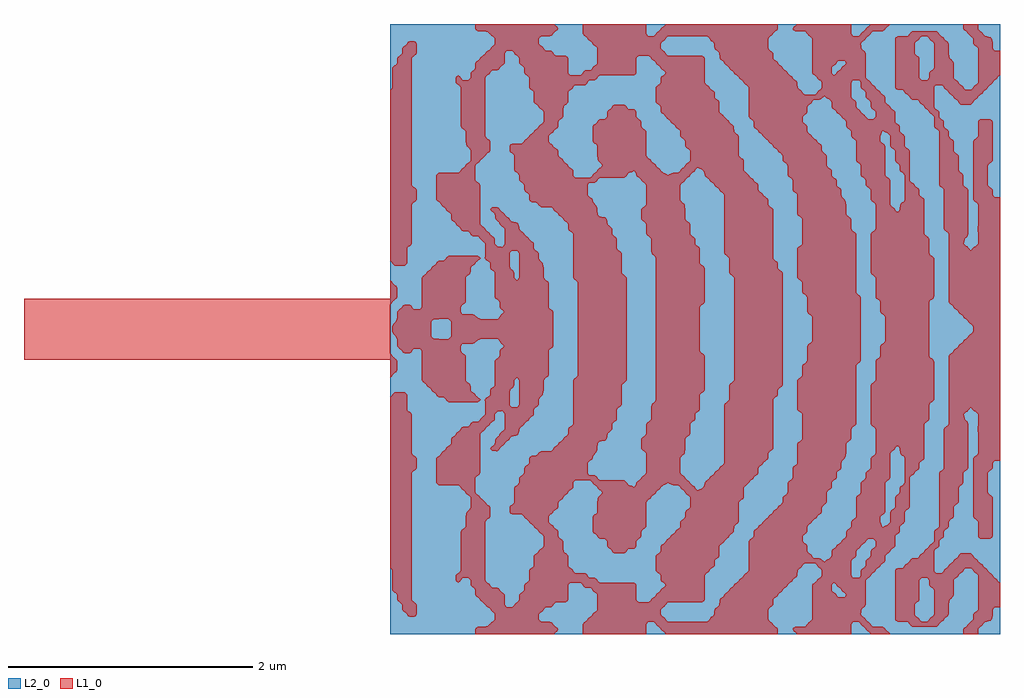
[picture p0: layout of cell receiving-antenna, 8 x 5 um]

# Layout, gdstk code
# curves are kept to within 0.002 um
import gdstk
lib = gdstk.Library(unit=1e-6, precision=1e-09)
def R(c, l, rs):  # rectangles x0, y0, x1, y1
    for r in rs: c.add(gdstk.rectangle(r[:2], r[2:], *l))
def P(c, l, *ps):  # polygons
    for p in ps: c.add(gdstk.Polygon(p, *l))
L1_0 = (1, 0)
L2_0 = (2, 0)

receiving_antenna = lib.new_cell('receiving-antenna')
R(receiving_antenna, L1_0, [(-5.5,-0.25,-2.5,0.25)])
P(receiving_antenna, L1_0, [(-1.8,-2.5),(-1.8,-2.46),(-1.793,-2.45),(-1.78,-2.44),(-1.71,-2.437),(-1.693,-2.43),(-1.676,-2.41),(-1.65,-2.393),(-1.64,-2.38),(-1.64,-2.34),(-1.65,-2.324),(-1.668,-2.31),(-1.684,-2.29),(-1.71,-2.273),(-1.727,-2.25),(-1.75,-2.233),(-1.767,-2.21),(-1.793,-2.19),(-1.8,-2.18),(-1.8,-2.14),(-1.805,-2.13),(-1.837,-2.1),(-1.84,-2.06),(-1.85,-2.047),(-1.86,-2.04),(-1.9,-2.04),(-1.91,-2.047),(-1.927,-2.07),(-1.94,-2.08),(-1.95,-2.073),(-1.96,-2.06),(-1.96,-2.02),(-1.953,-2.01),(-1.93,-1.993),(-1.92,-1.98),(-1.92,-1.66),(-1.913,-1.65),(-1.89,-1.633),(-1.88,-1.62),(-1.88,-1.54),(-1.87,-1.502),(-1.85,-1.48),(-1.84,-1.46),(-1.84,-1.38),(-1.847,-1.37),(-1.87,-1.353),(-1.887,-1.33),(-1.91,-1.313),(-1.927,-1.29),(-1.94,-1.28),(-2.1,-1.28),(-2.113,-1.27),(-2.12,-1.26),(-2.12,-1.06),(-2.11,-1.047),(-2.087,-1.03),(-2.07,-1.007),(-2.047,-0.99),(-2.03,-0.967),(-2.007,-0.95),(-2,-0.94),(-2,-0.9),(-1.99,-0.887),(-1.967,-0.87),(-1.95,-0.847),(-1.927,-0.83),(-1.91,-0.807),(-1.9,-0.8),(-1.86,-0.8),(-1.85,-0.793),(-1.833,-0.77),(-1.82,-0.76),(-1.78,-0.76),(-1.767,-0.75),(-1.75,-0.727),(-1.727,-0.71),(-1.72,-0.7),(-1.723,-0.58),(-1.71,-0.565),(-1.69,-0.553),(-1.68,-0.54),(-1.68,-0.5),(-1.673,-0.49),(-1.65,-0.473),(-1.64,-0.46),(-1.64,-0.4),(-1.46,-0.4),(-1.47,-0.407),(-1.48,-0.42),(-1.48,-0.46),(-1.49,-0.477),(-1.514,-0.5),(-1.518,-0.52),(-1.52,-0.62),(-1.513,-0.63),(-1.5,-0.64),(-1.46,-0.64),(-1.45,-0.633),(-1.44,-0.62),(-1.44,-0.42),(-1.447,-0.41),(-1.46,-0.4),(-1.64,-0.4),(-1.64,-0.26),(-1.633,-0.25),(-1.61,-0.233),(-1.6,-0.22),(-1.6,-0.18),(-1.59,-0.163),(-1.565,-0.14),(-1.59,-0.117),(-1.607,-0.09),(-1.62,-0.08),(-1.74,-0.08),(-1.78,-0.091),(-1.8,-0.11),(-1.82,-0.12),(-1.9,-0.12),(-1.91,-0.127),(-1.92,-0.14),(-1.92,-0.18),(-1.913,-0.19),(-1.89,-0.207),(-1.88,-0.22),(-1.88,-0.42),(-1.874,-0.43),(-1.85,-0.447),(-1.841,-0.46),(-1.84,-0.5),(-1.833,-0.51),(-1.81,-0.527),(-1.793,-0.55),(-1.765,-0.57),(-1.757,-0.58),(-1.765,-0.59),(-1.78,-0.6),(-2.02,-0.6),(-2.03,-0.593),(-2.047,-0.57),(-2.06,-0.56),(-2.1,-0.56),(-2.11,-0.553),(-2.127,-0.53),(-2.15,-0.513),(-2.167,-0.49),(-2.19,-0.473),(-2.207,-0.45),(-2.23,-0.433),(-2.24,-0.42),(-2.24,-0.18),(-2.247,-0.17),(-2.26,-0.16),(-2.3,-0.16),(-2.31,-0.167),(-2.327,-0.19),(-2.34,-0.2),(-2.38,-0.2),(-2.395,-0.19),(-2.409,-0.17),(-2.43,-0.155),(-2.44,-0.14),(-2.442,-0.09),(-2.452,-0.06),(-2.47,-0.042),(-2.48,-0.02),(-2.48,0.02),(-2.47,0.042),(-2.452,0.06),(-2.444,0.085),(-2.06,0.085),(-2.1,0.08),(-2.14,0.08),(-2.15,0.073),(-2.16,0.06),(-2.16,-0.06),(-2.153,-0.07),(-2.14,-0.08),(-2.1,-0.08),(-2.06,-0.085),(-2.02,-0.08),(-2.007,-0.07),(-2,-0.06),(-2,0.06),(-2.007,0.07),(-2.02,0.08),(-2.06,0.085),(-2.444,0.085),(-2.44,0.1),(-2.44,0.14),(-2.43,0.155),(-2.41,0.169),(-2.395,0.19),(-2.38,0.2),(-2.34,0.2),(-2.33,0.193),(-2.313,0.17),(-2.3,0.16),(-2.26,0.16),(-2.247,0.17),(-2.24,0.18),(-2.24,0.42),(-2.23,0.433),(-2.207,0.45),(-2.19,0.473),(-2.167,0.49),(-2.15,0.513),(-2.127,0.53),(-2.11,0.553),(-2.1,0.56),(-2.06,0.56),(-2.05,0.567),(-2.033,0.59),(-2.02,0.6),(-1.78,0.6),(-1.765,0.59),(-1.757,0.58),(-1.765,0.57),(-1.79,0.553),(-1.81,0.527),(-1.833,0.51),(-1.84,0.5),(-1.841,0.46),(-1.847,0.45),(-1.87,0.434),(-1.88,0.42),(-1.88,0.22),(-1.887,0.21),(-1.91,0.193),(-1.92,0.18),(-1.92,0.14),(-1.913,0.13),(-1.9,0.12),(-1.82,0.12),(-1.8,0.11),(-1.78,0.091),(-1.74,0.08),(-1.62,0.08),(-1.607,0.09),(-1.59,0.117),(-1.565,0.14),(-1.59,0.163),(-1.6,0.18),(-1.6,0.22),(-1.607,0.23),(-1.63,0.247),(-1.64,0.26),(-1.64,0.46),(-1.647,0.47),(-1.67,0.487),(-1.68,0.5),(-1.68,0.54),(-1.69,0.553),(-1.71,0.565),(-1.723,0.58),(-1.72,0.64),(-1.5,0.64),(-1.51,0.633),(-1.52,0.62),(-1.52,0.54),(-1.514,0.5),(-1.49,0.477),(-1.48,0.46),(-1.48,0.42),(-1.473,0.41),(-1.46,0.4),(-1.45,0.407),(-1.44,0.42),(-1.44,0.62),(-1.45,0.633),(-1.46,0.64),(-1.72,0.64),(-1.72,0.7),(-1.727,0.71),(-1.75,0.727),(-1.767,0.75),(-1.78,0.76),(-1.82,0.76),(-1.83,0.767),(-1.847,0.79),(-1.86,0.8),(-1.9,0.8),(-1.91,0.807),(-1.927,0.83),(-1.95,0.847),(-1.967,0.87),(-1.99,0.887),(-2,0.9),(-2,0.94),(-2.007,0.95),(-2.03,0.967),(-2.047,0.99),(-2.07,1.007),(-2.087,1.03),(-2.11,1.047),(-2.12,1.06),(-2.12,1.26),(-2.113,1.27),(-2.1,1.28),(-1.94,1.28),(-1.93,1.287),(-1.913,1.31),(-1.89,1.327),(-1.873,1.35),(-1.85,1.367),(-1.84,1.38),(-1.84,1.46),(-1.85,1.48),(-1.869,1.5),(-1.876,1.52),(-1.88,1.54),(-1.88,1.62),(-1.887,1.63),(-1.91,1.647),(-1.92,1.66),(-1.92,1.98),(-1.927,1.99),(-1.95,2.007),(-1.96,2.02),(-1.96,2.06),(-1.953,2.07),(-1.94,2.08),(-1.93,2.073),(-1.913,2.05),(-1.9,2.04),(-1.86,2.04),(-1.85,2.047),(-1.84,2.06),(-1.837,2.1),(-1.805,2.13),(-1.8,2.14),(-1.8,2.18),(-1.793,2.19),(-1.77,2.207),(-1.753,2.23),(-1.73,2.247),(-1.713,2.27),(-1.7,2.28),(-1.54,2.28),(-1.55,2.273),(-1.56,2.26),(-1.56,2.18),(-1.567,2.17),(-1.59,2.153),(-1.607,2.13),(-1.62,2.12),(-1.66,2.12),(-1.67,2.113),(-1.687,2.09),(-1.71,2.073),(-1.72,2.06),(-1.72,1.58),(-1.713,1.57),(-1.69,1.553),(-1.68,1.54),(-1.68,1.46),(-1.687,1.45),(-1.71,1.433),(-1.727,1.41),(-1.75,1.393),(-1.767,1.37),(-1.79,1.353),(-1.8,1.34),(-1.8,1.22),(-1.793,1.21),(-1.77,1.193),(-1.76,1.18),(-1.76,0.86),(-1.75,0.847),(-1.727,0.83),(-1.71,0.807),(-1.687,0.79),(-1.67,0.767),(-1.647,0.75),(-1.64,0.74),(-1.64,0.7),(-1.63,0.687),(-1.62,0.68),(-1.58,0.671),(-1.57,0.68),(-1.56,0.7),(-1.56,0.82),(-1.57,0.833),(-1.594,0.85),(-1.61,0.878),(-1.634,0.9),(-1.64,0.94),(-1.646,0.95),(-1.67,0.969),(-1.678,0.98),(-1.671,0.99),(-1.66,0.998),(-1.62,1),(-1.607,0.99),(-1.59,0.967),(-1.567,0.95),(-1.55,0.927),(-1.527,0.91),(-1.51,0.887),(-1.5,0.88),(-1.457,0.87),(-1.448,0.86),(-1.44,0.82),(-1.433,0.81),(-1.41,0.793),(-1.393,0.77),(-1.37,0.753),(-1.353,0.73),(-1.33,0.713),(-1.32,0.7),(-1.32,0.66),(-1.31,0.646),(-1.29,0.633),(-1.28,0.62),(-1.28,0.58),(-1.27,0.56),(-1.25,0.539),(-1.244,0.52),(-1.24,0.5),(-1.24,0.42),(-1.233,0.41),(-1.21,0.393),(-1.2,0.38),(-1.2,0.18),(-1.193,0.17),(-1.17,0.153),(-1.16,0.14),(-1.16,-0.14),(-1.167,-0.15),(-1.19,-0.167),(-1.2,-0.18),(-1.2,-0.38),(-1.207,-0.39),(-1.23,-0.407),(-1.24,-0.42),(-1.24,-0.5),(-1.25,-0.539),(-1.27,-0.56),(-1.28,-0.58),(-1.28,-0.62),(-1.29,-0.633),(-1.31,-0.646),(-1.32,-0.66),(-1.32,-0.7),(-1.327,-0.71),(-1.35,-0.727),(-1.367,-0.75),(-1.39,-0.767),(-1.407,-0.79),(-1.43,-0.807),(-1.44,-0.82),(-1.45,-0.863),(-1.46,-0.872),(-1.5,-0.88),(-1.51,-0.887),(-1.527,-0.91),(-1.55,-0.927),(-1.567,-0.95),(-1.59,-0.967),(-1.607,-0.99),(-1.62,-1),(-1.66,-0.998),(-1.67,-0.991),(-1.678,-0.98),(-1.67,-0.969),(-1.646,-0.95),(-1.64,-0.94),(-1.634,-0.9),(-1.61,-0.878),(-1.594,-0.85),(-1.57,-0.833),(-1.56,-0.82),(-1.56,-0.7),(-1.57,-0.68),(-1.58,-0.671),(-1.62,-0.68),(-1.633,-0.69),(-1.64,-0.7),(-1.64,-0.74),(-1.647,-0.75),(-1.67,-0.767),(-1.687,-0.79),(-1.71,-0.807),(-1.727,-0.83),(-1.75,-0.847),(-1.76,-0.86),(-1.76,-1.18),(-1.767,-1.19),(-1.79,-1.207),(-1.8,-1.22),(-1.8,-1.34),(-1.793,-1.35),(-1.77,-1.367),(-1.753,-1.39),(-1.73,-1.407),(-1.713,-1.43),(-1.69,-1.447),(-1.68,-1.46),(-1.68,-1.54),(-1.687,-1.55),(-1.71,-1.567),(-1.72,-1.58),(-1.72,-2.06),(-1.713,-2.07),(-1.69,-2.087),(-1.673,-2.11),(-1.66,-2.12),(-1.62,-2.12),(-1.61,-2.127),(-1.593,-2.15),(-1.57,-2.167),(-1.56,-2.18),(-1.56,-2.26),(-1.553,-2.27),(-1.54,-2.28),(-1.5,-2.28),(-1.49,-2.273),(-1.473,-2.25),(-1.45,-2.233),(-1.44,-2.22),(-1.44,-2.18),(-1.433,-2.17),(-1.41,-2.153),(-1.4,-2.14),(-1.4,-2.1),(-1.393,-2.09),(-1.37,-2.073),(-1.36,-2.06),(-1.36,-1.98),(-1.353,-1.97),(-1.33,-1.953),(-1.32,-1.94),(-1.32,-1.86),(-1.313,-1.85),(-1.29,-1.833),(-1.273,-1.81),(-1.25,-1.793),(-1.24,-1.78),(-1.24,-1.7),(-1.247,-1.69),(-1.27,-1.673),(-1.287,-1.65),(-1.31,-1.633),(-1.327,-1.61),(-1.35,-1.593),(-1.367,-1.57),(-1.39,-1.553),(-1.407,-1.53),(-1.42,-1.52),(-1.5,-1.52),(-1.51,-1.513),(-1.52,-1.5),(-1.52,-1.46),(-1.513,-1.45),(-1.49,-1.433),(-1.48,-1.42),(-1.48,-1.3),(-1.473,-1.29),(-1.45,-1.273),(-1.44,-1.26),(-1.44,-1.24),(-0.98,-1.24),(-0.99,-1.247),(-1,-1.26),(-1,-1.3),(-1.007,-1.31),(-1.03,-1.327),(-1.047,-1.35),(-1.073,-1.37),(-1.09,-1.395),(-1.111,-1.41),(-1.118,-1.42),(-1.12,-1.46),(-1.13,-1.473),(-1.155,-1.49),(-1.17,-1.509),(-1.19,-1.525),(-1.2,-1.54),(-1.2,-1.58),(-1.19,-1.593),(-1.167,-1.61),(-1.15,-1.633),(-1.127,-1.65),(-1.12,-1.66),(-1.12,-1.7),(-1.11,-1.714),(-1.09,-1.727),(-1.08,-1.74),(-1.077,-1.82),(-1.07,-1.83),(-1.05,-1.845),(-1.04,-1.86),(-1.04,-1.94),(-1.033,-1.95),(-1.01,-1.967),(-0.993,-1.99),(-0.98,-2),(-0.9,-2),(-0.89,-2.007),(-0.873,-2.03),(-0.86,-2.04),(-0.82,-2.04),(-0.81,-2.047),(-0.793,-2.07),(-0.78,-2.08),(-0.5,-2.08),(-0.49,-2.087),(-0.48,-2.1),(-0.48,-2.22),(-0.473,-2.23),(-0.46,-2.24),(-0.38,-2.24),(-0.37,-2.233),(-0.353,-2.21),(-0.33,-2.193),(-0.313,-2.17),(-0.29,-2.153),(-0.273,-2.13),(-0.25,-2.113),(-0.24,-2.1),(-0.247,-2.09),(-0.27,-2.073),(-0.28,-2.06),(-0.281,-2.02),(-0.29,-2.008),(-0.314,-1.99),(-0.32,-1.98),(-0.32,-1.86),(-0.313,-1.85),(-0.29,-1.833),(-0.28,-1.82),(-0.28,-1.78),(-0.273,-1.77),(-0.25,-1.753),(-0.233,-1.73),(-0.21,-1.713),(-0.193,-1.69),(-0.17,-1.673),(-0.153,-1.65),(-0.127,-1.63),(-0.12,-1.62),(-0.12,-1.58),(-0.113,-1.57),(-0.09,-1.553),(-0.08,-1.54),(-0.08,-1.5),(-0.073,-1.49),(-0.05,-1.473),(-0.04,-1.46),(-0.04,-1.38),(-0.05,-1.367),(-0.073,-1.35),(-0.09,-1.327),(-0.113,-1.31),(-0.13,-1.287),(-0.14,-1.28),(-0.18,-1.28),(-0.19,-1.277),(-0.21,-1.267),(-0.22,-1.258),(-0.24,-1.273),(-0.26,-1.28),(-0.27,-1.287),(-0.287,-1.31),(-0.31,-1.327),(-0.327,-1.35),(-0.35,-1.367),(-0.367,-1.39),(-0.39,-1.407),(-0.4,-1.42),(-0.4,-1.62),(-0.407,-1.63),(-0.43,-1.647),(-0.44,-1.66),(-0.44,-1.7),(-0.447,-1.71),(-0.47,-1.727),(-0.48,-1.74),(-0.48,-1.78),(-0.487,-1.79),(-0.5,-1.8),(-0.54,-1.8),(-0.55,-1.807),(-0.567,-1.83),(-0.58,-1.84),(-0.66,-1.84),(-0.67,-1.833),(-0.687,-1.81),(-0.71,-1.793),(-0.72,-1.78),(-0.72,-1.74),(-0.727,-1.73),(-0.74,-1.72),(-0.78,-1.719),(-0.792,-1.71),(-0.81,-1.686),(-0.83,-1.673),(-0.84,-1.66),(-0.84,-1.54),(-0.83,-1.527),(-0.81,-1.514),(-0.8,-1.5),(-0.8,-1.42),(-0.795,-1.38),(-0.773,-1.36),(-0.76,-1.34),(-0.77,-1.327),(-0.79,-1.314),(-0.81,-1.287),(-0.833,-1.27),(-0.85,-1.247),(-0.86,-1.24),(-1.44,-1.24),(-1.44,-1.22),(-1.433,-1.21),(-1.41,-1.193),(-1.4,-1.18),(-1.4,-1.14),(-1.393,-1.13),(-1.37,-1.113),(-1.36,-1.1),(-1.36,-1.06),(-1.353,-1.05),(-1.34,-1.04),(-1.3,-1.036),(-1.276,-1.01),(-1.26,-1),(-1.18,-1),(-1.17,-0.993),(-1.153,-0.97),(-1.13,-0.953),(-1.113,-0.93),(-1.09,-0.913),(-1.073,-0.89),(-1.047,-0.87),(-1.04,-0.86),(-1.04,-0.82),(-1.033,-0.81),(-1.01,-0.793),(-1,-0.78),(-1,-0.42),(-0.993,-0.41),(-0.97,-0.393),(-0.96,-0.38),(-0.96,0.38),(-0.967,0.39),(-0.99,0.407),(-1,0.42),(-1,0.78),(-1.007,0.79),(-1.03,0.807),(-1.04,0.82),(-1.04,0.86),(-1.047,0.87),(-1.07,0.887),(-1.087,0.91),(-1.11,0.927),(-1.127,0.95),(-1.15,0.967),(-1.167,0.99),(-1.18,1),(-1.26,1),(-1.276,1.01),(-1.3,1.036),(-1.34,1.04),(-1.353,1.05),(-1.36,1.06),(-1.36,1.1),(-1.367,1.11),(-1.39,1.127),(-1.4,1.14),(-1.4,1.18),(-1.407,1.19),(-1.43,1.207),(-1.44,1.22),(-1.44,1.26),(-1.447,1.27),(-1.47,1.287),(-1.48,1.3),(-1.48,1.42),(-1.487,1.43),(-1.51,1.447),(-1.52,1.46),(-1.52,1.5),(-1.51,1.513),(-1.5,1.52),(-1.42,1.52),(-1.407,1.53),(-1.39,1.553),(-1.367,1.57),(-1.35,1.593),(-1.327,1.61),(-1.31,1.633),(-1.287,1.65),(-1.27,1.673),(-1.247,1.69),(-1.24,1.7),(-1.24,1.78),(-1.247,1.79),(-1.27,1.807),(-1.287,1.83),(-1.31,1.847),(-1.32,1.86),(-1.32,1.94),(-1.327,1.95),(-1.35,1.967),(-1.36,1.98),(-1.36,2.06),(-1.367,2.07),(-1.39,2.087),(-1.4,2.1),(-1.4,2.14),(-1.407,2.15),(-1.43,2.167),(-1.44,2.18),(-1.44,2.22),(-1.447,2.23),(-1.47,2.247),(-1.487,2.27),(-1.5,2.28),(-1.7,2.28),(-1.684,2.29),(-1.67,2.308),(-1.645,2.33),(-1.64,2.34),(-1.64,2.38),(-1.65,2.393),(-1.676,2.41),(-1.7,2.435),(-1.74,2.44),(-1.78,2.44),(-1.79,2.447),(-1.8,2.46),(-1.8,2.5),(-1.154,2.5),(-1.126,2.47),(-1.121,2.46),(-1.128,2.45),(-1.15,2.435),(-1.169,2.41),(-1.18,2.402),(-1.26,2.4),(-1.27,2.393),(-1.28,2.38),(-1.28,2.34),(-1.27,2.327),(-1.247,2.31),(-1.23,2.287),(-1.22,2.28),(-1.18,2.28),(-1.17,2.273),(-1.153,2.25),(-1.14,2.24),(-1.06,2.24),(-1.05,2.233),(-1.04,2.22),(-1.04,2.1),(-1.033,2.09),(-1.02,2.08),(-0.94,2.08),(-0.93,2.087),(-0.913,2.11),(-0.9,2.12),(-0.86,2.12),(-0.85,2.127),(-0.833,2.15),(-0.81,2.167),(-0.8,2.18),(-0.8,2.24),(-0.46,2.24),(-0.47,2.233),(-0.48,2.22),(-0.48,2.1),(-0.487,2.09),(-0.5,2.08),(-0.78,2.08),(-0.79,2.073),(-0.807,2.05),(-0.82,2.04),(-0.86,2.04),(-0.87,2.033),(-0.887,2.01),(-0.9,2),(-0.98,2),(-0.99,1.993),(-1.007,1.97),(-1.03,1.953),(-1.04,1.94),(-1.04,1.86),(-1.05,1.845),(-1.07,1.83),(-1.077,1.82),(-1.08,1.74),(-1.09,1.727),(-1.11,1.714),(-1.12,1.7),(-1.12,1.66),(-1.127,1.65),(-1.15,1.633),(-1.167,1.61),(-1.19,1.593),(-1.2,1.58),(-1.2,1.54),(-1.194,1.53),(-1.17,1.509),(-1.155,1.49),(-1.13,1.473),(-1.12,1.46),(-1.118,1.42),(-1.111,1.41),(-1.09,1.395),(-1.073,1.37),(-1.05,1.353),(-1.033,1.33),(-1.007,1.31),(-1,1.3),(-1,1.26),(-0.993,1.25),(-0.98,1.24),(-0.86,1.24),(-0.847,1.25),(-0.83,1.273),(-0.81,1.287),(-0.803,1.296),(-0.5,1.296),(-0.54,1.28),(-0.55,1.273),(-0.567,1.25),(-0.58,1.24),(-0.78,1.24),(-0.79,1.233),(-0.807,1.21),(-0.82,1.2),(-0.86,1.2),(-0.87,1.193),(-0.88,1.18),(-0.88,1.1),(-0.87,1.087),(-0.847,1.07),(-0.83,1.036),(-0.81,1.01),(-0.8,0.98),(-0.799,0.94),(-0.792,0.93),(-0.78,0.921),(-0.74,0.916),(-0.73,0.908),(-0.724,0.9),(-0.717,0.86),(-0.69,0.835),(-0.68,0.82),(-0.68,0.78),(-0.673,0.77),(-0.65,0.753),(-0.64,0.74),(-0.64,0.66),(-0.633,0.65),(-0.61,0.633),(-0.6,0.62),(-0.6,0.46),(-0.593,0.45),(-0.57,0.433),(-0.56,0.42),(-0.56,-0.42),(-0.567,-0.43),(-0.59,-0.447),(-0.6,-0.46),(-0.6,-0.62),(-0.607,-0.63),(-0.63,-0.647),(-0.64,-0.66),(-0.64,-0.74),(-0.647,-0.75),(-0.67,-0.767),(-0.68,-0.78),(-0.68,-0.82),(-0.69,-0.835),(-0.717,-0.86),(-0.724,-0.9),(-0.73,-0.908),(-0.74,-0.916),(-0.78,-0.921),(-0.79,-0.928),(-0.799,-0.94),(-0.8,-0.98),(-0.81,-1.01),(-0.83,-1.036),(-0.847,-1.07),(-0.87,-1.087),(-0.88,-1.1),(-0.88,-1.18),(-0.873,-1.19),(-0.86,-1.2),(-0.82,-1.2),(-0.81,-1.207),(-0.793,-1.23),(-0.78,-1.24),(-0.58,-1.24),(-0.57,-1.247),(-0.553,-1.27),(-0.54,-1.28),(-0.5,-1.296),(-0.494,-1.29),(-0.473,-1.25),(-0.45,-1.233),(-0.433,-1.21),(-0.41,-1.193),(-0.4,-1.18),(-0.4,-1.02),(-0.407,-1.01),(-0.43,-0.993),(-0.44,-0.98),(-0.44,-0.9),(-0.433,-0.89),(-0.41,-0.873),(-0.4,-0.86),(-0.4,-0.78),(-0.393,-0.77),(-0.37,-0.753),(-0.36,-0.74),(-0.36,-0.66),(-0.354,-0.62),(-0.33,-0.597),(-0.32,-0.58),(-0.32,0.58),(-0.33,0.597),(-0.354,0.62),(-0.36,0.66),(-0.36,0.74),(-0.367,0.75),(-0.39,0.767),(-0.4,0.78),(-0.4,0.86),(-0.407,0.87),(-0.43,0.887),(-0.44,0.9),(-0.44,0.98),(-0.433,0.99),(-0.41,1.007),(-0.4,1.02),(-0.4,1.18),(-0.41,1.193),(-0.433,1.21),(-0.45,1.233),(-0.473,1.25),(-0.49,1.284),(-0.5,1.296),(-0.803,1.296),(-0.79,1.314),(-0.77,1.327),(-0.76,1.34),(-0.773,1.36),(-0.795,1.38),(-0.8,1.42),(-0.8,1.5),(-0.81,1.514),(-0.83,1.527),(-0.84,1.54),(-0.84,1.66),(-0.833,1.67),(-0.81,1.686),(-0.792,1.71),(-0.78,1.719),(-0.74,1.72),(-0.73,1.727),(-0.72,1.74),(-0.72,1.78),(-0.713,1.79),(-0.69,1.807),(-0.673,1.83),(-0.66,1.84),(-0.58,1.84),(-0.57,1.833),(-0.553,1.81),(-0.54,1.8),(-0.5,1.8),(-0.49,1.793),(-0.48,1.78),(-0.48,1.74),(-0.473,1.73),(-0.45,1.713),(-0.44,1.7),(-0.44,1.66),(-0.433,1.65),(-0.41,1.633),(-0.4,1.62),(-0.4,1.42),(-0.39,1.407),(-0.367,1.39),(-0.35,1.367),(-0.327,1.35),(-0.31,1.327),(-0.287,1.31),(-0.27,1.287),(-0.26,1.28),(-0.24,1.273),(-0.22,1.258),(-0.2,1.273),(-0.18,1.28),(-0.14,1.28),(-0.13,1.287),(-0.113,1.31),(-0.1,1.32),(0.02,1.32),(0.01,1.313),(-0.007,1.29),(-0.03,1.273),(-0.047,1.25),(-0.07,1.233),(-0.087,1.21),(-0.11,1.193),(-0.12,1.18),(-0.12,1.06),(-0.11,1.042),(-0.086,1.02),(-0.08,0.98),(-0.08,0.9),(-0.073,0.89),(-0.05,0.873),(-0.04,0.86),(-0.04,0.78),(-0.033,0.77),(-0.01,0.753),(0,0.74),(0,0.7),(0.007,0.69),(0.03,0.673),(0.04,0.66),(0.04,0.54),(0.047,0.53),(0.07,0.513),(0.08,0.5),(0.08,0.22),(0.073,0.21),(0.05,0.193),(0.04,0.18),(0.04,-0.18),(0.047,-0.19),(0.07,-0.207),(0.08,-0.22),(0.08,-0.5),(0.073,-0.51),(0.05,-0.527),(0.04,-0.54),(0.04,-0.66),(0.033,-0.67),(0.01,-0.687),(0,-0.7),(0,-0.74),(-0.007,-0.75),(-0.03,-0.767),(-0.04,-0.78),(-0.04,-0.86),(-0.047,-0.87),(-0.07,-0.887),(-0.08,-0.9),(-0.08,-0.98),(-0.086,-1.02),(-0.11,-1.042),(-0.12,-1.06),(-0.12,-1.18),(-0.113,-1.19),(-0.09,-1.207),(-0.073,-1.23),(-0.05,-1.247),(-0.033,-1.27),(-0.01,-1.287),(0.007,-1.31),(0.02,-1.32),(0.06,-1.305),(0.071,-1.29),(0.08,-1.26),(0.087,-1.25),(0.11,-1.233),(0.127,-1.21),(0.15,-1.193),(0.167,-1.17),(0.19,-1.153),(0.207,-1.13),(0.23,-1.113),(0.24,-1.1),(0.24,-0.62),(0.247,-0.61),(0.27,-0.593),(0.28,-0.58),(0.28,-0.46),(0.287,-0.45),(0.31,-0.433),(0.32,-0.42),(0.32,0.42),(0.313,0.43),(0.29,0.447),(0.28,0.46),(0.28,0.58),(0.273,0.59),(0.25,0.607),(0.24,0.62),(0.24,1.1),(0.23,1.113),(0.207,1.13),(0.19,1.153),(0.167,1.17),(0.15,1.193),(0.127,1.21),(0.11,1.233),(0.087,1.25),(0.08,1.26),(0.071,1.29),(0.06,1.305),(0.02,1.32),(-0.1,1.32),(-0.09,1.327),(-0.073,1.35),(-0.05,1.367),(-0.04,1.38),(-0.04,1.46),(-0.047,1.47),(-0.07,1.487),(-0.08,1.5),(-0.08,1.54),(-0.087,1.55),(-0.11,1.567),(-0.12,1.58),(-0.12,1.62),(-0.13,1.633),(-0.153,1.65),(-0.17,1.673),(-0.193,1.69),(-0.21,1.713),(-0.233,1.73),(-0.25,1.753),(-0.273,1.77),(-0.28,1.78),(-0.28,1.82),(-0.287,1.83),(-0.31,1.847),(-0.32,1.86),(-0.32,1.98),(-0.314,1.99),(-0.29,2.008),(-0.281,2.02),(-0.28,2.06),(-0.273,2.07),(-0.25,2.087),(-0.24,2.1),(-0.247,2.11),(-0.27,2.127),(-0.287,2.15),(-0.31,2.167),(-0.327,2.19),(-0.35,2.207),(-0.367,2.23),(-0.38,2.24),(-0.8,2.24),(-0.8,2.3),(-0.807,2.31),(-0.83,2.327),(-0.847,2.35),(-0.87,2.367),(-0.887,2.39),(-0.91,2.407),(-0.92,2.42),(-0.92,2.5),(-0.4,2.5),(-0.4,2.42),(-0.393,2.41),(-0.38,2.4),(-0.22,2.4),(-0.23,2.393),(-0.247,2.37),(-0.27,2.353),(-0.28,2.34),(-0.28,2.3),(-0.273,2.29),(-0.25,2.273),(-0.233,2.25),(-0.22,2.24),(0.06,2.24),(0.07,2.233),(0.08,2.22),(0.08,2.02),(0.087,2.01),(0.11,1.993),(0.127,1.97),(0.15,1.953),(0.16,1.94),(0.16,1.9),(0.167,1.89),(0.19,1.873),(0.2,1.86),(0.2,1.78),(0.21,1.767),(0.233,1.75),(0.25,1.727),(0.273,1.71),(0.29,1.686),(0.311,1.67),(0.318,1.66),(0.32,1.62),(0.327,1.61),(0.35,1.593),(0.36,1.58),(0.36,1.42),(0.37,1.407),(0.39,1.394),(0.4,1.38),(0.401,1.3),(0.41,1.288),(0.434,1.27),(0.45,1.247),(0.473,1.23),(0.49,1.207),(0.513,1.19),(0.52,1.18),(0.52,1.14),(0.53,1.127),(0.553,1.11),(0.57,1.087),(0.593,1.07),(0.6,1.06),(0.6,1.02),(0.607,1.01),(0.63,0.993),(0.64,0.98),(0.64,0.58),(0.647,0.57),(0.67,0.553),(0.68,0.54),(0.68,0.5),(0.69,0.486),(0.713,0.47),(0.719,0.46),(0.72,0.45),(0.72,-0.45),(0.719,-0.46),(0.713,-0.47),(0.69,-0.486),(0.68,-0.5),(0.68,-0.54),(0.673,-0.55),(0.65,-0.567),(0.64,-0.58),(0.64,-0.98),(0.633,-0.99),(0.61,-1.007),(0.6,-1.02),(0.6,-1.06),(0.593,-1.07),(0.57,-1.087),(0.553,-1.11),(0.53,-1.127),(0.52,-1.14),(0.52,-1.18),(0.513,-1.19),(0.49,-1.207),(0.473,-1.23),(0.45,-1.247),(0.434,-1.27),(0.41,-1.288),(0.401,-1.3),(0.4,-1.38),(0.394,-1.39),(0.37,-1.407),(0.36,-1.42),(0.36,-1.58),(0.353,-1.59),(0.33,-1.607),(0.32,-1.62),(0.318,-1.66),(0.311,-1.67),(0.29,-1.686),(0.273,-1.71),(0.25,-1.727),(0.233,-1.75),(0.21,-1.767),(0.2,-1.78),(0.2,-1.86),(0.193,-1.87),(0.17,-1.887),(0.16,-1.9),(0.16,-1.94),(0.153,-1.95),(0.13,-1.967),(0.113,-1.99),(0.09,-2.007),(0.08,-2.02),(0.08,-2.22),(0.073,-2.23),(0.06,-2.24),(-0.22,-2.24),(-0.23,-2.247),(-0.247,-2.27),(-0.27,-2.287),(-0.28,-2.3),(-0.28,-2.34),(-0.273,-2.35),(-0.25,-2.367),(-0.233,-2.39),(-0.22,-2.4),(0.1,-2.4),(0.113,-2.39),(0.125,-2.37),(0.157,-2.34),(0.16,-2.3),(0.167,-2.29),(0.19,-2.273),(0.2,-2.26),(0.201,-2.22),(0.208,-2.21),(0.23,-2.194),(0.247,-2.17),(0.27,-2.153),(0.287,-2.13),(0.31,-2.113),(0.327,-2.09),(0.35,-2.073),(0.367,-2.05),(0.39,-2.033),(0.407,-2.01),(0.433,-1.99),(0.44,-1.98),(0.44,-1.74),(0.447,-1.73),(0.47,-1.713),(0.48,-1.7),(0.48,-1.66),(0.487,-1.65),(0.51,-1.633),(0.527,-1.61),(0.55,-1.593),(0.567,-1.57),(0.59,-1.553),(0.607,-1.53),(0.63,-1.513),(0.647,-1.49),(0.67,-1.473),(0.687,-1.45),(0.71,-1.433),(0.72,-1.42),(0.72,-1.38),(0.727,-1.37),(0.75,-1.353),(0.76,-1.34),(0.76,-1.26),(0.77,-1.247),(0.79,-1.234),(0.8,-1.22),(0.8,-1.14),(0.807,-1.13),(0.83,-1.113),(0.84,-1.1),(0.84,-0.94),(0.847,-0.93),(0.87,-0.913),(0.88,-0.9),(0.88,-0.7),(0.873,-0.69),(0.85,-0.673),(0.84,-0.66),(0.84,-0.42),(0.847,-0.41),(0.87,-0.393),(0.88,-0.38),(0.88,-0.3),(0.887,-0.29),(0.91,-0.273),(0.92,-0.26),(0.92,-0.14),(0.927,-0.13),(0.95,-0.113),(0.96,-0.1),(0.96,0.1),(0.953,0.11),(0.93,0.127),(0.92,0.14),(0.92,0.26),(0.913,0.27),(0.89,0.287),(0.88,0.3),(0.88,0.38),(0.873,0.39),(0.85,0.407),(0.84,0.42),(0.84,0.66),(0.847,0.67),(0.87,0.687),(0.88,0.7),(0.88,0.9),(0.873,0.91),(0.85,0.927),(0.84,0.94),(0.84,1.1),(0.833,1.11),(0.81,1.127),(0.8,1.14),(0.8,1.22),(0.79,1.234),(0.77,1.247),(0.76,1.26),(0.76,1.34),(0.753,1.35),(0.73,1.367),(0.72,1.38),(0.72,1.42),(0.71,1.433),(0.687,1.45),(0.67,1.473),(0.647,1.49),(0.63,1.513),(0.607,1.53),(0.59,1.553),(0.567,1.57),(0.55,1.593),(0.527,1.61),(0.51,1.633),(0.487,1.65),(0.48,1.66),(0.48,1.7),(0.473,1.71),(0.45,1.727),(0.44,1.74),(0.44,1.909),(1.06,1.909),(1.04,1.89),(1.02,1.88),(0.98,1.88),(0.967,1.87),(0.95,1.847),(0.927,1.83),(0.92,1.82),(0.92,1.78),(0.91,1.764),(0.884,1.74),(0.882,1.7),(0.89,1.689),(0.913,1.67),(0.919,1.66),(0.92,1.62),(0.927,1.61),(0.95,1.593),(0.967,1.57),(0.99,1.553),(1.007,1.53),(1.033,1.51),(1.04,1.5),(1.041,1.46),(1.047,1.45),(1.07,1.433),(1.08,1.42),(1.08,1.34),(1.087,1.33),(1.11,1.313),(1.12,1.3),(1.12,1.26),(1.127,1.25),(1.15,1.233),(1.16,1.22),(1.16,1.18),(1.167,1.17),(1.19,1.153),(1.2,1.14),(1.2,1.1),(1.203,1.09),(1.21,1.077),(1.226,1.06),(1.24,1.02),(1.24,0.94),(1.247,0.93),(1.27,0.913),(1.28,0.9),(1.28,0.82),(1.287,0.81),(1.31,0.793),(1.32,0.78),(1.32,0.3),(1.327,0.29),(1.35,0.273),(1.36,0.26),(1.36,-0.26),(1.353,-0.27),(1.33,-0.287),(1.32,-0.3),(1.32,-0.78),(1.313,-0.79),(1.29,-0.807),(1.28,-0.82),(1.28,-0.9),(1.273,-0.91),(1.25,-0.927),(1.24,-0.94),(1.24,-1.02),(1.226,-1.06),(1.21,-1.077),(1.203,-1.09),(1.2,-1.1),(1.2,-1.14),(1.193,-1.15),(1.17,-1.167),(1.16,-1.18),(1.16,-1.22),(1.153,-1.23),(1.13,-1.247),(1.12,-1.26),(1.12,-1.3),(1.113,-1.31),(1.09,-1.327),(1.08,-1.34),(1.08,-1.42),(1.07,-1.433),(1.047,-1.45),(1.041,-1.46),(1.04,-1.5),(1.033,-1.51),(1.01,-1.527),(0.993,-1.55),(0.97,-1.567),(0.953,-1.59),(0.927,-1.61),(0.92,-1.62),(0.919,-1.66),(0.913,-1.67),(0.89,-1.689),(0.882,-1.7),(0.884,-1.74),(0.91,-1.764),(0.92,-1.78),(0.92,-1.82),(0.927,-1.83),(0.95,-1.847),(0.967,-1.87),(0.98,-1.88),(1.02,-1.88),(1.04,-1.89),(1.06,-1.909),(1.083,-1.89),(1.104,-1.88),(1.12,-1.86),(1.12,-1.82),(1.127,-1.81),(1.15,-1.793),(1.167,-1.77),(1.19,-1.753),(1.207,-1.73),(1.22,-1.72),(1.42,-1.72),(1.407,-1.73),(1.39,-1.753),(1.367,-1.77),(1.35,-1.794),(1.328,-1.81),(1.321,-1.82),(1.32,-1.86),(1.313,-1.87),(1.29,-1.887),(1.28,-1.9),(1.28,-2.02),(1.287,-2.03),(1.3,-2.04),(1.34,-2.04),(1.35,-2.033),(1.36,-2.02),(1.36,-1.98),(1.367,-1.97),(1.39,-1.953),(1.4,-1.94),(1.4,-1.9),(1.407,-1.89),(1.43,-1.873),(1.44,-1.86),(1.44,-1.82),(1.447,-1.81),(1.47,-1.793),(1.48,-1.78),(1.48,-1.74),(1.473,-1.73),(1.46,-1.72),(1.22,-1.72),(1.23,-1.713),(1.24,-1.7),(1.24,-1.66),(1.247,-1.65),(1.27,-1.633),(1.28,-1.62),(1.28,-1.58),(1.287,-1.57),(1.31,-1.553),(1.32,-1.54),(1.32,-1.38),(1.327,-1.37),(1.35,-1.353),(1.36,-1.34),(1.36,-1.26),(1.367,-1.25),(1.39,-1.233),(1.4,-1.22),(1.4,-1.18),(1.407,-1.17),(1.43,-1.153),(1.44,-1.14),(1.44,-1.06),(1.447,-1.05),(1.47,-1.033),(1.48,-1.02),(1.48,-0.96),(1.66,-0.96),(1.65,-0.967),(1.633,-0.99),(1.61,-1.007),(1.6,-1.02),(1.6,-1.22),(1.594,-1.23),(1.57,-1.249),(1.561,-1.26),(1.56,-1.5),(1.553,-1.51),(1.53,-1.527),(1.52,-1.54),(1.52,-1.58),(1.525,-1.6),(1.535,-1.62),(1.54,-1.625),(1.56,-1.612),(1.58,-1.604),(1.595,-1.59),(1.6,-1.58),(1.6,-1.5),(1.607,-1.49),(1.63,-1.473),(1.64,-1.46),(1.64,-1.38),(1.646,-1.37),(1.67,-1.352),(1.679,-1.34),(1.68,-1.3),(1.687,-1.29),(1.71,-1.273),(1.72,-1.26),(1.72,-1.06),(1.71,-1.045),(1.69,-1.03),(1.682,-1.02),(1.68,-0.98),(1.673,-0.97),(1.66,-0.96),(1.48,-0.96),(1.48,-0.82),(1.473,-0.81),(1.45,-0.793),(1.44,-0.78),(1.44,-0.46),(1.447,-0.45),(1.47,-0.433),(1.48,-0.42),(1.481,-0.26),(1.487,-0.25),(1.51,-0.234),(1.52,-0.22),(1.52,-0.14),(1.527,-0.13),(1.55,-0.113),(1.56,-0.1),(1.56,0.1),(1.553,0.11),(1.53,0.127),(1.52,0.14),(1.52,0.22),(1.514,0.23),(1.49,0.247),(1.481,0.26),(1.48,0.42),(1.473,0.43),(1.45,0.447),(1.44,0.46),(1.44,0.78),(1.447,0.79),(1.47,0.807),(1.48,0.82),(1.48,1.02),(1.473,1.03),(1.45,1.047),(1.44,1.06),(1.44,1.14),(1.433,1.15),(1.41,1.167),(1.4,1.18),(1.4,1.22),(1.393,1.23),(1.37,1.247),(1.36,1.26),(1.36,1.34),(1.353,1.35),(1.33,1.367),(1.32,1.38),(1.32,1.54),(1.313,1.55),(1.29,1.567),(1.28,1.58),(1.28,1.62),(1.277,1.625),(1.54,1.625),(1.529,1.61),(1.522,1.59),(1.52,1.54),(1.527,1.53),(1.55,1.513),(1.56,1.5),(1.561,1.26),(1.57,1.249),(1.594,1.23),(1.6,1.22),(1.6,1.02),(1.61,1.007),(1.633,0.99),(1.65,0.967),(1.66,0.96),(1.673,0.97),(1.68,0.98),(1.682,1.02),(1.69,1.03),(1.71,1.045),(1.72,1.06),(1.721,1.24),(1.72,1.26),(1.713,1.27),(1.69,1.287),(1.68,1.3),(1.679,1.34),(1.67,1.352),(1.646,1.37),(1.64,1.38),(1.64,1.46),(1.633,1.47),(1.61,1.487),(1.6,1.5),(1.6,1.58),(1.59,1.596),(1.54,1.625),(1.277,1.625),(1.25,1.647),(1.24,1.66),(1.24,1.7),(1.233,1.71),(1.21,1.727),(1.193,1.75),(1.17,1.767),(1.153,1.79),(1.13,1.807),(1.12,1.82),(1.12,1.86),(1.114,1.87),(1.104,1.88),(1.083,1.89),(1.06,1.909),(0.44,1.909),(0.44,1.98),(0.43,1.993),(0.407,2.01),(0.39,2.033),(0.367,2.05),(0.35,2.073),(0.327,2.09),(0.31,2.113),(0.287,2.13),(0.27,2.153),(0.247,2.17),(0.23,2.194),(0.208,2.21),(0.201,2.22),(0.2,2.26),(0.193,2.27),(0.17,2.287),(0.16,2.3),(0.157,2.34),(0.125,2.37),(0.113,2.39),(0.1,2.4),(-0.34,2.4),(-0.33,2.407),(-0.313,2.43),(-0.29,2.447),(-0.273,2.47),(-0.25,2.487),(-0.24,2.5),(0.68,2.5),(0.68,2.46),(0.673,2.45),(0.65,2.433),(0.633,2.41),(0.61,2.393),(0.6,2.38),(0.6,2.3),(0.607,2.29),(0.63,2.273),(0.64,2.26),(0.64,2.22),(0.647,2.21),(0.67,2.193),(0.687,2.17),(0.71,2.153),(0.727,2.13),(0.75,2.113),(0.767,2.09),(0.79,2.073),(0.807,2.05),(0.833,2.03),(0.84,2.02),(0.841,1.98),(0.85,1.968),(0.874,1.95),(0.887,1.93),(0.9,1.92),(0.98,1.92),(0.995,1.93),(1.009,1.95),(1.03,1.965),(1.04,1.98),(1.04,2.02),(1.033,2.03),(1.02,2.04),(1.3,2.04),(1.29,2.033),(1.28,2.02),(1.28,1.9),(1.287,1.89),(1.31,1.873),(1.32,1.86),(1.321,1.82),(1.33,1.808),(1.354,1.79),(1.367,1.77),(1.39,1.753),(1.407,1.73),(1.42,1.72),(1.46,1.72),(1.47,1.727),(1.48,1.74),(1.48,1.78),(1.473,1.79),(1.45,1.807),(1.44,1.82),(1.44,1.86),(1.433,1.87),(1.41,1.887),(1.4,1.9),(1.4,1.94),(1.393,1.95),(1.37,1.967),(1.36,1.98),(1.36,2.02),(1.35,2.033),(1.34,2.04),(1.02,2.04),(1.01,2.047),(0.993,2.07),(0.97,2.087),(0.96,2.1),(0.96,2.2),(1.18,2.2),(1.17,2.193),(1.153,2.17),(1.13,2.153),(1.12,2.14),(1.12,2.1),(1.127,2.09),(1.14,2.08),(1.153,2.09),(1.17,2.113),(1.193,2.13),(1.21,2.153),(1.233,2.17),(1.24,2.18),(1.233,2.19),(1.22,2.2),(0.96,2.2),(0.96,2.38),(0.953,2.39),(0.93,2.407),(0.913,2.43),(0.9,2.44),(0.82,2.44),(0.81,2.447),(0.8,2.46),(0.81,2.476),(0.836,2.5),(1.28,2.5),(1.28,2.42),(1.287,2.41),(1.3,2.4),(1.341,2.4),(1.354,2.41),(1.367,2.43),(1.39,2.447),(1.407,2.47),(1.43,2.487),(1.44,2.5),(1.6,2.5),(1.593,2.49),(1.57,2.473),(1.553,2.45),(1.54,2.44),(1.46,2.44),(1.45,2.434),(1.433,2.41),(1.41,2.394),(1.392,2.37),(1.37,2.354),(1.36,2.34),(1.363,2.3),(1.371,2.29),(1.39,2.276),(1.4,2.26),(1.4,2.06),(1.407,2.05),(1.43,2.033),(1.447,2.01),(1.47,1.993),(1.487,1.97),(1.51,1.953),(1.527,1.93),(1.55,1.913),(1.56,1.9),(1.56,1.86),(1.567,1.85),(1.59,1.833),(1.607,1.81),(1.63,1.793),(1.64,1.78),(1.64,1.7),(1.647,1.69),(1.67,1.673),(1.68,1.66),(1.68,1.62),(1.687,1.61),(1.71,1.593),(1.72,1.58),(1.72,1.5),(1.727,1.49),(1.75,1.473),(1.76,1.46),(1.759,1.22),(1.77,1.206),(1.793,1.19),(1.81,1.167),(1.833,1.15),(1.84,1.14),(1.84,1.1),(1.847,1.09),(1.87,1.073),(1.88,1.06),(1.88,0.78),(1.887,0.77),(1.91,0.753),(1.92,0.74),(1.92,0.62),(1.93,0.606),(1.95,0.593),(1.96,0.58),(1.959,0.26),(1.953,0.25),(1.93,0.234),(1.92,0.22),(1.92,-0.22),(1.926,-0.23),(1.95,-0.247),(1.959,-0.26),(1.96,-0.58),(1.95,-0.593),(1.93,-0.606),(1.92,-0.62),(1.92,-0.74),(1.913,-0.75),(1.89,-0.767),(1.88,-0.78),(1.88,-1.06),(1.873,-1.07),(1.85,-1.087),(1.84,-1.1),(1.84,-1.14),(1.833,-1.15),(1.81,-1.167),(1.793,-1.19),(1.77,-1.206),(1.759,-1.22),(1.76,-1.46),(1.753,-1.47),(1.73,-1.487),(1.72,-1.5),(1.72,-1.58),(1.713,-1.59),(1.69,-1.607),(1.68,-1.62),(1.68,-1.66),(1.673,-1.67),(1.65,-1.687),(1.64,-1.7),(1.64,-1.78),(1.633,-1.79),(1.61,-1.807),(1.593,-1.83),(1.57,-1.847),(1.56,-1.86),(1.56,-1.9),(1.553,-1.91),(1.53,-1.927),(1.513,-1.95),(1.49,-1.967),(1.473,-1.99),(1.45,-2.007),(1.433,-2.03),(1.41,-2.047),(1.4,-2.06),(1.4,-2.26),(1.39,-2.276),(1.371,-2.29),(1.363,-2.3),(1.36,-2.34),(1.366,-2.35),(1.39,-2.368),(1.41,-2.394),(1.43,-2.407),(1.45,-2.434),(1.46,-2.44),(1.54,-2.44),(1.55,-2.447),(1.567,-2.47),(1.59,-2.487),(1.6,-2.5),(1.44,-2.5),(1.43,-2.487),(1.407,-2.47),(1.39,-2.447),(1.367,-2.43),(1.354,-2.41),(1.341,-2.4),(1.3,-2.4),(1.29,-2.407),(1.28,-2.42),(1.28,-2.5),(0.836,-2.5),(0.828,-2.49),(0.814,-2.48),(0.8,-2.46),(0.807,-2.45),(0.82,-2.44),(0.9,-2.44),(0.91,-2.433),(0.927,-2.41),(0.95,-2.393),(0.96,-2.38),(0.96,-2.1),(0.97,-2.087),(0.98,-2.08),(1.14,-2.08),(1.13,-2.087),(1.12,-2.1),(1.12,-2.14),(1.127,-2.15),(1.15,-2.167),(1.167,-2.19),(1.18,-2.2),(1.22,-2.2),(1.23,-2.193),(1.24,-2.18),(1.233,-2.17),(1.21,-2.153),(1.193,-2.13),(1.17,-2.113),(1.153,-2.09),(1.14,-2.08),(0.98,-2.08),(0.99,-2.073),(1.007,-2.05),(1.03,-2.033),(1.04,-2.02),(1.04,-1.98),(1.03,-1.965),(1.01,-1.951),(0.995,-1.93),(0.98,-1.92),(0.9,-1.92),(0.89,-1.927),(0.874,-1.95),(0.85,-1.968),(0.841,-1.98),(0.84,-2.02),(0.833,-2.03),(0.81,-2.047),(0.793,-2.07),(0.77,-2.087),(0.753,-2.11),(0.73,-2.127),(0.713,-2.15),(0.69,-2.167),(0.673,-2.19),(0.65,-2.207),(0.64,-2.22),(0.64,-2.26),(0.633,-2.27),(0.61,-2.287),(0.6,-2.3),(0.6,-2.38),(0.607,-2.39),(0.63,-2.407),(0.647,-2.43),(0.67,-2.447),(0.68,-2.46),(0.68,-2.5),(-0.24,-2.5),(-0.247,-2.49),(-0.27,-2.473),(-0.287,-2.45),(-0.31,-2.433),(-0.327,-2.41),(-0.34,-2.4),(-0.38,-2.4),(-0.39,-2.407),(-0.4,-2.42),(-0.4,-2.5),(-0.92,-2.5),(-0.92,-2.42),(-0.913,-2.41),(-0.89,-2.393),(-0.873,-2.37),(-0.85,-2.353),(-0.833,-2.33),(-0.81,-2.313),(-0.8,-2.3),(-0.8,-2.18),(-0.81,-2.167),(-0.833,-2.15),(-0.85,-2.127),(-0.86,-2.12),(-0.9,-2.12),(-0.91,-2.113),(-0.927,-2.09),(-0.94,-2.08),(-1.02,-2.08),(-1.033,-2.09),(-1.04,-2.1),(-1.04,-2.22),(-1.05,-2.233),(-1.06,-2.24),(-1.14,-2.24),(-1.15,-2.247),(-1.167,-2.27),(-1.18,-2.28),(-1.22,-2.28),(-1.23,-2.287),(-1.247,-2.31),(-1.27,-2.327),(-1.28,-2.34),(-1.28,-2.38),(-1.27,-2.393),(-1.26,-2.4),(-1.18,-2.402),(-1.169,-2.41),(-1.15,-2.435),(-1.128,-2.45),(-1.121,-2.46),(-1.126,-2.47),(-1.154,-2.5)],
  [(2.2,-2.5),(2.2,-2.46),(2.21,-2.447),(2.233,-2.43),(2.25,-2.407),(2.273,-2.39),(2.28,-2.38),(2.28,-2.34),(2.287,-2.33),(2.31,-2.313),(2.32,-2.3),(2.32,-2.02),(2.313,-2.01),(2.29,-1.993),(2.273,-1.97),(2.26,-1.96),(2.22,-1.96),(2.21,-1.967),(2.193,-1.99),(2.17,-2.007),(2.153,-2.03),(2.13,-2.047),(2.12,-2.06),(2.12,-2.18),(2.11,-2.2),(2.09,-2.219),(2.086,-2.23),(2.08,-2.26),(2.08,-2.34),(2.073,-2.35),(2.05,-2.367),(2.033,-2.39),(2.01,-2.407),(1.993,-2.43),(1.98,-2.44),(1.78,-2.44),(1.77,-2.433),(1.753,-2.41),(1.74,-2.4),(1.66,-2.4),(1.65,-2.393),(1.64,-2.38),(1.64,-2.04),(1.86,-2.04),(1.85,-2.047),(1.84,-2.06),(1.84,-2.22),(1.833,-2.23),(1.81,-2.247),(1.8,-2.26),(1.8,-2.34),(1.807,-2.35),(1.83,-2.367),(1.847,-2.39),(1.86,-2.4),(1.9,-2.4),(1.91,-2.393),(1.927,-2.37),(1.95,-2.353),(1.96,-2.34),(1.96,-2.14),(1.953,-2.13),(1.93,-2.113),(1.92,-2.1),(1.92,-2.06),(1.913,-2.05),(1.9,-2.04),(1.64,-2.04),(1.64,-1.98),(1.647,-1.97),(1.66,-1.96),(1.7,-1.96),(1.71,-1.953),(1.727,-1.93),(1.75,-1.913),(1.767,-1.89),(1.78,-1.88),(1.82,-1.88),(1.83,-1.873),(1.847,-1.85),(1.87,-1.833),(1.887,-1.81),(1.91,-1.793),(1.927,-1.77),(1.95,-1.753),(1.96,-1.74),(1.96,-1.66),(1.967,-1.65),(1.99,-1.633),(2,-1.62),(2,-1.18),(2.01,-1.167),(2.03,-1.154),(2.04,-1.14),(2.04,-0.82),(2.046,-0.81),(2.07,-0.792),(2.079,-0.78),(2.08,-0.22),(2.087,-0.21),(2.11,-0.193),(2.127,-0.17),(2.15,-0.153),(2.167,-0.13),(2.19,-0.113),(2.207,-0.09),(2.23,-0.073),(2.247,-0.05),(2.27,-0.033),(2.28,-0.02),(2.28,0.02),(2.273,0.03),(2.25,0.047),(2.233,0.07),(2.21,0.087),(2.193,0.11),(2.17,0.127),(2.153,0.15),(2.13,0.167),(2.113,0.19),(2.09,0.207),(2.08,0.22),(2.079,0.78),(2.07,0.792),(2.046,0.81),(2.04,0.82),(2.04,1.14),(2.03,1.154),(2.01,1.167),(2,1.18),(2,1.62),(1.993,1.63),(1.97,1.647),(1.96,1.66),(1.96,1.74),(1.953,1.75),(1.93,1.767),(1.913,1.79),(1.89,1.807),(1.873,1.83),(1.85,1.847),(1.83,1.873),(1.82,1.88),(1.78,1.88),(1.767,1.89),(1.75,1.913),(1.727,1.93),(1.71,1.953),(1.7,1.96),(1.66,1.96),(1.65,1.967),(1.64,1.98),(1.64,2.38),(1.647,2.39),(1.66,2.4),(1.86,2.4),(1.85,2.393),(1.833,2.37),(1.81,2.353),(1.8,2.34),(1.8,2.26),(1.807,2.25),(1.83,2.233),(1.84,2.22),(1.84,2.06),(1.847,2.05),(1.86,2.04),(1.9,2.04),(1.91,2.047),(1.92,2.06),(1.92,2.1),(1.927,2.11),(1.95,2.127),(1.96,2.14),(1.96,2.34),(1.953,2.35),(1.93,2.367),(1.913,2.39),(1.9,2.4),(1.74,2.4),(1.75,2.407),(1.767,2.43),(1.78,2.44),(1.98,2.44),(1.99,2.433),(2.007,2.41),(2.03,2.393),(2.047,2.37),(2.07,2.353),(2.08,2.34),(2.08,2.26),(2.086,2.23),(2.09,2.219),(2.11,2.2),(2.12,2.18),(2.12,2.06),(2.13,2.047),(2.153,2.03),(2.17,2.007),(2.193,1.99),(2.21,1.967),(2.22,1.96),(2.26,1.96),(2.27,1.967),(2.287,1.99),(2.31,2.007),(2.32,2.02),(2.32,2.3),(2.313,2.31),(2.29,2.327),(2.28,2.34),(2.28,2.38),(2.273,2.39),(2.25,2.407),(2.233,2.43),(2.21,2.447),(2.2,2.46),(2.2,2.5),(2.32,2.5),(2.32,2.46),(2.327,2.45),(2.35,2.433),(2.367,2.41),(2.38,2.4),(2.42,2.393),(2.433,2.38),(2.44,2.34),(2.44,2.3),(2.447,2.29),(2.46,2.28),(2.5,2.279),(2.5,2.08),(2.49,2.073),(2.473,2.05),(2.45,2.033),(2.433,2.01),(2.41,1.993),(2.393,1.97),(2.37,1.953),(2.353,1.93),(2.33,1.913),(2.313,1.89),(2.29,1.873),(2.273,1.85),(2.26,1.84),(2.18,1.84),(2.17,1.847),(2.153,1.87),(2.13,1.887),(2.113,1.91),(2.09,1.927),(2.073,1.95),(2.05,1.967),(2.033,1.99),(2.02,2),(1.98,2),(1.97,1.993),(1.96,1.98),(1.96,1.82),(1.967,1.81),(1.99,1.793),(2,1.78),(2,1.74),(2.007,1.73),(2.03,1.713),(2.04,1.7),(2.04,1.66),(2.047,1.65),(2.07,1.633),(2.08,1.62),(2.08,1.58),(2.087,1.57),(2.11,1.553),(2.12,1.54),(2.12,1.46),(2.127,1.45),(2.15,1.433),(2.16,1.42),(2.162,1.3),(2.17,1.289),(2.194,1.27),(2.2,1.26),(2.2,1.18),(2.207,1.17),(2.23,1.153),(2.24,1.14),(2.24,0.78),(2.23,0.758),(2.212,0.74),(2.204,0.7),(2.212,0.69),(2.23,0.678),(2.26,0.645),(2.284,0.67),(2.31,0.686),(2.32,0.7),(2.32,1.02),(2.313,1.03),(2.29,1.047),(2.28,1.06),(2.28,1.54),(2.287,1.55),(2.31,1.567),(2.32,1.58),(2.32,1.7),(2.327,1.71),(2.34,1.72),(2.42,1.72),(2.43,1.713),(2.44,1.7),(2.44,1.38),(2.433,1.37),(2.41,1.353),(2.4,1.34),(2.4,1.18),(2.407,1.17),(2.43,1.153),(2.44,1.14),(2.44,1.1),(2.447,1.09),(2.46,1.08),(2.5,1.08),(2.5,-1.08),(2.46,-1.08),(2.45,-1.087),(2.44,-1.1),(2.44,-1.14),(2.433,-1.15),(2.41,-1.167),(2.4,-1.18),(2.4,-1.34),(2.407,-1.35),(2.43,-1.367),(2.44,-1.38),(2.44,-1.7),(2.433,-1.71),(2.42,-1.72),(2.34,-1.72),(2.33,-1.713),(2.32,-1.7),(2.32,-1.58),(2.313,-1.57),(2.29,-1.553),(2.28,-1.54),(2.28,-1.06),(2.287,-1.05),(2.31,-1.033),(2.32,-1.02),(2.32,-0.7),(2.31,-0.686),(2.284,-0.67),(2.26,-0.645),(2.23,-0.678),(2.212,-0.69),(2.204,-0.7),(2.212,-0.74),(2.23,-0.758),(2.24,-0.78),(2.24,-1.14),(2.233,-1.15),(2.21,-1.167),(2.2,-1.18),(2.2,-1.26),(2.194,-1.27),(2.17,-1.289),(2.162,-1.3),(2.16,-1.42),(2.153,-1.43),(2.13,-1.447),(2.12,-1.46),(2.12,-1.54),(2.113,-1.55),(2.09,-1.567),(2.08,-1.58),(2.08,-1.62),(2.073,-1.63),(2.05,-1.647),(2.04,-1.66),(2.04,-1.7),(2.033,-1.71),(2.01,-1.727),(2,-1.74),(2,-1.78),(1.993,-1.79),(1.97,-1.807),(1.96,-1.82),(1.96,-1.98),(1.967,-1.99),(1.98,-2),(2.02,-2),(2.03,-1.993),(2.047,-1.97),(2.07,-1.953),(2.087,-1.93),(2.11,-1.913),(2.127,-1.89),(2.15,-1.873),(2.167,-1.85),(2.18,-1.84),(2.26,-1.84),(2.27,-1.847),(2.287,-1.87),(2.31,-1.887),(2.327,-1.91),(2.35,-1.927),(2.367,-1.95),(2.39,-1.967),(2.407,-1.99),(2.43,-2.007),(2.447,-2.03),(2.47,-2.047),(2.487,-2.07),(2.5,-2.08),(2.5,-2.279),(2.46,-2.28),(2.45,-2.287),(2.44,-2.3),(2.44,-2.34),(2.433,-2.38),(2.42,-2.393),(2.38,-2.4),(2.367,-2.41),(2.35,-2.433),(2.327,-2.45),(2.32,-2.46),(2.32,-2.5)],
  [(-2.46,0.52),(-2.47,0.527),(-2.487,0.55),(-2.5,0.56),(-2.5,1.96),(-2.49,1.967),(-2.48,1.98),(-2.48,2.14),(-2.473,2.15),(-2.45,2.167),(-2.44,2.18),(-2.44,2.22),(-2.433,2.23),(-2.41,2.247),(-2.4,2.26),(-2.4,2.3),(-2.393,2.31),(-2.37,2.327),(-2.353,2.35),(-2.34,2.36),(-2.3,2.36),(-2.29,2.353),(-2.28,2.34),(-2.28,2.26),(-2.287,2.25),(-2.31,2.233),(-2.32,2.22),(-2.32,1.18),(-2.313,1.17),(-2.29,1.153),(-2.28,1.14),(-2.28,1.06),(-2.287,1.05),(-2.31,1.033),(-2.32,1.02),(-2.32,0.7),(-2.327,0.69),(-2.35,0.673),(-2.36,0.66),(-2.36,0.54),(-2.367,0.53),(-2.38,0.52)],
  [(-2.34,-2.36),(-2.35,-2.353),(-2.367,-2.33),(-2.39,-2.313),(-2.4,-2.3),(-2.4,-2.26),(-2.407,-2.25),(-2.43,-2.233),(-2.44,-2.22),(-2.44,-2.18),(-2.447,-2.17),(-2.47,-2.153),(-2.48,-2.14),(-2.48,-1.98),(-2.487,-1.97),(-2.5,-1.96),(-2.5,-0.56),(-2.49,-0.553),(-2.473,-0.53),(-2.46,-0.52),(-2.38,-0.52),(-2.37,-0.527),(-2.36,-0.54),(-2.36,-0.66),(-2.353,-0.67),(-2.33,-0.687),(-2.32,-0.7),(-2.32,-1.02),(-2.313,-1.03),(-2.29,-1.047),(-2.28,-1.06),(-2.28,-1.14),(-2.287,-1.15),(-2.31,-1.167),(-2.32,-1.18),(-2.32,-2.22),(-2.313,-2.23),(-2.29,-2.247),(-2.28,-2.26),(-2.28,-2.34),(-2.287,-2.35),(-2.3,-2.36)],
  [(-2.5,-0.4),(-2.5,-0.2),(-2.49,-0.207),(-2.473,-0.23),(-2.45,-0.247),(-2.44,-0.26),(-2.44,-0.34),(-2.447,-0.35),(-2.47,-0.367),(-2.487,-0.39)],
  [(-2.5,0.2),(-2.5,0.4),(-2.49,0.393),(-2.473,0.37),(-2.45,0.353),(-2.44,0.34),(-2.44,0.26),(-2.447,0.25),(-2.47,0.233),(-2.487,0.21)])
R(receiving_antenna, L2_0, [(-2.5,-2.5,2.5,2.5)])

lib.write_gds('receiving-antenna.gds')
